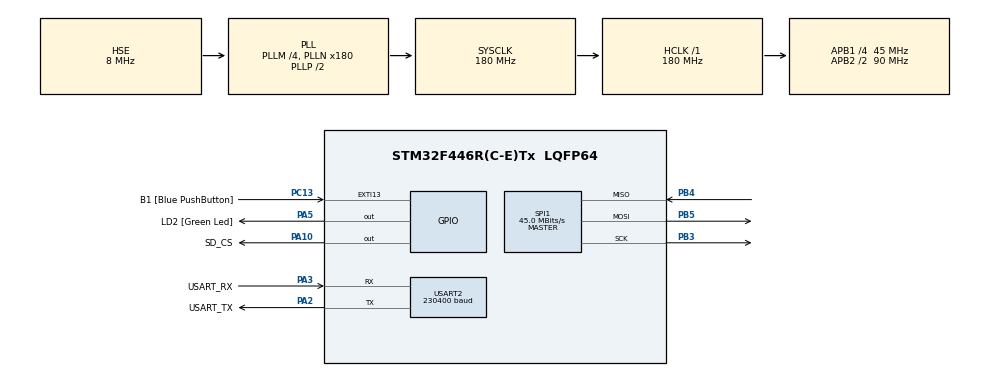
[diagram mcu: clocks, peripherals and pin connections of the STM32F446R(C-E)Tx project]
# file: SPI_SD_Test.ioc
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Dma.Request0=USART2_RX
Dma.Request1=USART2_TX
Dma.USART2_RX.0.Direction=DMA_PERIPH_TO_MEMORY
Dma.USART2_RX.0.FIFOMode=DMA_FIFOMODE_DISABLE
Dma.USART2_RX.0.Instance=DMA1_Stream5
Dma.USART2_RX.0.MemDataAlignment=DMA_MDATAALIGN_BYTE
Dma.USART2_RX.0.MemInc=DMA_MINC_ENABLE
Dma.USART2_RX.0.Mode=DMA_CIRCULAR
Dma.USART2_RX.0.PeriphDataAlignment=DMA_PDATAALIGN_BYTE
Dma.USART2_RX.0.PeriphInc=DMA_PINC_DISABLE
Dma.USART2_RX.0.Priority=DMA_PRIORITY_LOW
Dma.USART2_TX.1.Direction=DMA_MEMORY_TO_PERIPH
Dma.USART2_TX.1.FIFOMode=DMA_FIFOMODE_DISABLE
Dma.USART2_TX.1.Instance=DMA1_Stream6
Dma.USART2_TX.1.MemDataAlignment=DMA_MDATAALIGN_BYTE
Dma.USART2_TX.1.MemInc=DMA_MINC_ENABLE
Dma.USART2_TX.1.Mode=DMA_NORMAL
Dma.USART2_TX.1.PeriphDataAlignment=DMA_PDATAALIGN_BYTE
Dma.USART2_TX.1.PeriphInc=DMA_PINC_DISABLE
Dma.USART2_TX.1.Priority=DMA_PRIORITY_LOW
FATFS._FS_NORTC=1
FATFS._NORTC_YEAR=2025
FATFS._USE_STRFUNC=1
Mcu.Family=STM32F4
Mcu.Name=STM32F446R(C-E)Tx
Mcu.Package=LQFP64
NVIC.DMA1_Stream5_IRQn=true\:0\:0\:false\:false\:true
NVIC.DMA1_Stream6_IRQn=true\:0\:0\:false\:false\:true
NVIC.PriorityGroup=NVIC_PRIORITYGROUP_0
PA10.GPIO_Label=SD_CS
PA10.GPIO_Speed=GPIO_SPEED_FREQ_VERY_HIGH
PA10.PinState=GPIO_PIN_SET
PA10.Signal=GPIO_Output
PA13.GPIO_Label=TMS
PA13.Mode=Serial_Wire
PA13.Signal=SYS_JTMS-SWDIO
PA14.GPIO_Label=TCK
PA14.Mode=Serial_Wire
PA14.Signal=SYS_JTCK-SWCLK
PA2.GPIO_Label=USART_TX
PA2.Mode=Asynchronous
PA2.Signal=USART2_TX
PA3.GPIO_Label=USART_RX
PA3.Mode=Asynchronous
PA3.Signal=USART2_RX
PA5.GPIO_Label=LD2 [Green Led]
PA5.Signal=GPIO_Output
PB13.Signal=SPI2_SCK
PB14.GPIO_PuPd=GPIO_PULLUP
PB14.Signal=SPI2_MISO
PB15.Signal=SPI2_MOSI
PB3.Mode=Full_Duplex_Master
PB3.Signal=SPI1_SCK
PB4.Mode=Full_Duplex_Master
PB4.Signal=SPI1_MISO
PB5.Mode=Full_Duplex_Master
PB5.Signal=SPI1_MOSI
PC13.GPIO_Label=B1 [Blue PushButton]
PC13.GPIO_ModeDefaultEXTI=GPIO_MODE_IT_FALLING
PC13.Signal=GPXTI13
PC14-OSC32_IN.Signal=RCC_OSC32_IN
PC15-OSC32_OUT.Signal=RCC_OSC32_OUT
PH0-OSC_IN.Mode=HSE-External-Oscillator
PH0-OSC_IN.Signal=RCC_OSC_IN
PH1-OSC_OUT.Mode=HSE-External-Oscillator
PH1-OSC_OUT.Signal=RCC_OSC_OUT
ProjectManager.HeapSize=0x200
ProjectManager.StackSize=0x400
ProjectManager.TargetToolchain=SW4STM32
RCC.AHBFreq_Value=180000000
RCC.APB1CLKDivider=RCC_HCLK_DIV4
RCC.APB1Freq_Value=45000000
RCC.APB1TimFreq_Value=90000000
RCC.APB2CLKDivider=RCC_HCLK_DIV2
RCC.APB2Freq_Value=90000000
RCC.APB2TimFreq_Value=180000000
RCC.CortexFreq_Value=180000000
RCC.FLatency-AdvancedSettings=FLASH_LATENCY_5
RCC.HCLKFreq_Value=180000000
RCC.HSE_VALUE=8000000
RCC.HSI_VALUE=16000000
RCC.LSE_VALUE=32768
RCC.PLLM=4
RCC.PLLN=180
RCC.PLLSourceVirtual=RCC_PLLSOURCE_HSE
RCC.SYSCLKFreq_VALUE=180000000
RCC.SYSCLKSource=RCC_SYSCLKSOURCE_PLLCLK
RCC.USBFreq_Value=180000000
RCC.VCOOutputFreq_Value=360000000
SPI1.CalculateBaudRate=45.0 MBits/s
SPI1.Direction=SPI_DIRECTION_2LINES
SPI1.Mode=SPI_MODE_MASTER
SPI1.VirtualType=VM_MASTER
USART2.BaudRate=230400
USART2.VirtualMode=VM_ASYNC
VP_FATFS_VS_Generic.Mode=User_defined
board=NUCLEO-F446RE

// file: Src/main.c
/**
  ******************************************************************************
  * File Name          : main.c
  * Description        : Main program body
  ******************************************************************************
  * This notice applies to any and all portions of this file
  * that are not between comment pairs USER CODE BEGIN and
  * USER CODE END. Other portions of this file, whether
  * inserted by the user or by software development tools
  * are owned by their respective copyright owners.
  *
  * Copyright (c) 2017 STMicroelectronics International N.V.
  * All rights reserved.
  *
  * Redistribution and use in source and binary forms, with or without
  * modification, are permitted, provided that the following conditions are met:
  *
  * 1. Redistribution of source code must retain the above copyright notice,
  *    this list of conditions and the following disclaimer.
  * 2. Redistributions in binary form must reproduce the above copyright notice,
  *    this list of conditions and the following disclaimer in the documentation
  *    and/or other materials provided with the distribution.
  * 3. Neither the name of STMicroelectronics nor the names of other
  *    contributors to this software may be used to endorse or promote products
  *    derived from this software without specific written permission.
  * 4. This software, including modifications and/or derivative works of this
  *    software, must execute solely and exclusively on microcontroller or
  *    microprocessor devices manufactured by or for STMicroelectronics.
  * 5. Redistribution and use of this software other than as permitted under
  *    this license is void and will automatically terminate your rights under
  *    this license.
  *
  * THIS SOFTWARE IS PROVIDED BY STMICROELECTRONICS AND CONTRIBUTORS "AS IS"
  * AND ANY EXPRESS, IMPLIED OR STATUTORY WARRANTIES, INCLUDING, BUT NOT
  * LIMITED TO, THE IMPLIED WARRANTIES OF MERCHANTABILITY, FITNESS FOR A
  * PARTICULAR PURPOSE AND NON-INFRINGEMENT OF THIRD PARTY INTELLECTUAL PROPERTY
  * RIGHTS ARE DISCLAIMED TO THE FULLEST EXTENT PERMITTED BY LAW. IN NO EVENT
  * SHALL STMICROELECTRONICS OR CONTRIBUTORS BE LIABLE FOR ANY DIRECT, INDIRECT,
  * INCIDENTAL, SPECIAL, EXEMPLARY, OR CONSEQUENTIAL DAMAGES (INCLUDING, BUT NOT
  * LIMITED TO, PROCUREMENT OF SUBSTITUTE GOODS OR SERVICES; LOSS OF USE, DATA,
  * OR PROFITS; OR BUSINESS INTERRUPTION) HOWEVER CAUSED AND ON ANY THEORY OF
  * LIABILITY, WHETHER IN CONTRACT, STRICT LIABILITY, OR TORT (INCLUDING
  * NEGLIGENCE OR OTHERWISE) ARISING IN ANY WAY OUT OF THE USE OF THIS SOFTWARE,
  * EVEN IF ADVISED OF THE POSSIBILITY OF SUCH DAMAGE.
  *
  ******************************************************************************
  */
#include "main.h"
#include "stm32f4xx_hal.h"
#include "fatfs.h"

/* USER CODE BEGIN Includes */
#include "sd_io.h"

/* USER CODE END Includes */

SPI_HandleTypeDef hspi1;

UART_HandleTypeDef huart2;
DMA_HandleTypeDef hdma_usart2_rx;
DMA_HandleTypeDef hdma_usart2_tx;

/* USER CODE BEGIN PV */
/* Private variables ---------------------------------------------------------*/

/* USER CODE END PV */

void SystemClock_Config(void);
static void MX_GPIO_Init(void);
static void MX_DMA_Init(void);
static void MX_USART2_UART_Init(void);
static void MX_SPI1_Init(void);

/* USER CODE BEGIN PFP */
/* Private function prototypes -----------------------------------------------*/

/* USER CODE END PFP */

int main(void)
{

  /* MCU Configuration----------------------------------------------------------*/

  /* Reset of all peripherals, Initializes the Flash interface and the Systick. */
  HAL_Init();

  /* Configure the system clock */
  SystemClock_Config();

  /* Initialize all configured peripherals */
  MX_GPIO_Init();
  MX_DMA_Init();
  MX_FATFS_Init();
  MX_USART2_UART_Init();
  MX_SPI1_Init();

  /* USER CODE BEGIN 2 */
  uint8_t readBuf[512];
  uint8_t fucktard[512];
  uint8_t oneFucktard[] = "fucktard alert pls don't touch\n";
  for(int i=0; i<512; i+=32){
	  for(int j=0; j<32; j++){
		  fucktard[i+j] = oneFucktard[j];
	  }
  }

  SPI_IO_Attach(&hspi1);

  HAL_Delay(2);

  SDRESULTS res;
  SD_DEV* newSD;

//  res = SD_Init(newSD);
//  HAL_Delay(1);
//  res = SD_Write(newSD, fucktard, 0);
//  res = SD_Write(newSD, fucktard, 1);
//  res = SD_Write(newSD, fucktard, 2);
//  res = SD_Read(newSD, readBuf, 0, 0, 512);
//  uint8_t lol = readBuf[0];

  FIL newFIL;
  FATFS newFAT;
  uint8_t SD_Path[4];
  UINT bw;

  FRESULT ret = f_mount(&newFAT, SD_Path, 0);
//  ret = f_mkfs(SD_Path, 0, 0);
  ret = f_open(&newFIL, "testies4.txt", FA_CREATE_ALWAYS | FA_WRITE);
  ret = f_write(&newFIL, fucktard, sizeof(fucktard), &bw);
  ret = f_write(&newFIL, fucktard, sizeof(fucktard), &bw);
  ret = f_write(&newFIL, fucktard, sizeof(fucktard), &bw);
  ret = f_write(&newFIL, fucktard, sizeof(fucktard), &bw);
  ret = f_write(&newFIL, fucktard, sizeof(fucktard), &bw);
    ret = f_write(&newFIL, fucktard, sizeof(fucktard), &bw);
    ret = f_write(&newFIL, fucktard, sizeof(fucktard), &bw);
    ret = f_write(&newFIL, fucktard, sizeof(fucktard), &bw);
//  ret = f_sync(&newFIL);
  ret = f_close(&newFIL);

  /* USER CODE END 2 */

  /* Infinite loop */
  while (1)
  {

  }

}

/** System Clock Configuration
*/
void SystemClock_Config(void)
{

  RCC_OscInitTypeDef RCC_OscInitStruct;
  RCC_ClkInitTypeDef RCC_ClkInitStruct;

    /**Configure the main internal regulator output voltage
    */
  __HAL_RCC_PWR_CLK_ENABLE();

  __HAL_PWR_VOLTAGESCALING_CONFIG(PWR_REGULATOR_VOLTAGE_SCALE1);

    /**Initializes the CPU, AHB and APB busses clocks
    */
  RCC_OscInitStruct.OscillatorType = RCC_OSCILLATORTYPE_HSE;
  RCC_OscInitStruct.HSEState = RCC_HSE_ON;
  RCC_OscInitStruct.PLL.PLLState = RCC_PLL_ON;
  RCC_OscInitStruct.PLL.PLLSource = RCC_PLLSOURCE_HSE;
  RCC_OscInitStruct.PLL.PLLM = 4;
  RCC_OscInitStruct.PLL.PLLN = 180;
  RCC_OscInitStruct.PLL.PLLP = RCC_PLLP_DIV2;
  RCC_OscInitStruct.PLL.PLLQ = 2;
  RCC_OscInitStruct.PLL.PLLR = 2;
  if (HAL_RCC_OscConfig(&RCC_OscInitStruct) != HAL_OK)
  {
    _Error_Handler(__FILE__, __LINE__);
  }

    /**Activate the Over-Drive mode
    */
  if (HAL_PWREx_EnableOverDrive() != HAL_OK)
  {
    _Error_Handler(__FILE__, __LINE__);
  }

    /**Initializes the CPU, AHB and APB busses clocks
    */
  RCC_ClkInitStruct.ClockType = RCC_CLOCKTYPE_HCLK|RCC_CLOCKTYPE_SYSCLK
                              |RCC_CLOCKTYPE_PCLK1|RCC_CLOCKTYPE_PCLK2;
  RCC_ClkInitStruct.SYSCLKSource = RCC_SYSCLKSOURCE_PLLCLK;
  RCC_ClkInitStruct.AHBCLKDivider = RCC_SYSCLK_DIV1;
  RCC_ClkInitStruct.APB1CLKDivider = RCC_HCLK_DIV4;
  RCC_ClkInitStruct.APB2CLKDivider = RCC_HCLK_DIV2;

  if (HAL_RCC_ClockConfig(&RCC_ClkInitStruct, FLASH_LATENCY_5) != HAL_OK)
  {
    _Error_Handler(__FILE__, __LINE__);
  }

    /**Configure the Systick interrupt time
    */
  HAL_SYSTICK_Config(HAL_RCC_GetHCLKFreq()/1000);

    /**Configure the Systick
    */
  HAL_SYSTICK_CLKSourceConfig(SYSTICK_CLKSOURCE_HCLK);

  /* SysTick_IRQn interrupt configuration */
  HAL_NVIC_SetPriority(SysTick_IRQn, 0, 0);
}

/* SPI1 init function */
static void MX_SPI1_Init(void)
{

  hspi1.Instance = SPI1;
  hspi1.Init.Mode = SPI_MODE_MASTER;
  hspi1.Init.Direction = SPI_DIRECTION_2LINES;
  hspi1.Init.DataSize = SPI_DATASIZE_8BIT;
  hspi1.Init.CLKPolarity = SPI_POLARITY_LOW;
  hspi1.Init.CLKPhase = SPI_PHASE_1EDGE;
  hspi1.Init.NSS = SPI_NSS_SOFT;
  hspi1.Init.BaudRatePrescaler = SPI_BAUDRATEPRESCALER_2;
  hspi1.Init.FirstBit = SPI_FIRSTBIT_MSB;
  hspi1.Init.TIMode = SPI_TIMODE_DISABLE;
  hspi1.Init.CRCCalculation = SPI_CRCCALCULATION_DISABLE;
  hspi1.Init.CRCPolynomial = 10;
  if (HAL_SPI_Init(&hspi1) != HAL_OK)
  {
    _Error_Handler(__FILE__, __LINE__);
  }

}

/* USART2 init function */
static void MX_USART2_UART_Init(void)
{

  huart2.Instance = USART2;
  huart2.Init.BaudRate = 230400;
  huart2.Init.WordLength = UART_WORDLENGTH_8B;
  huart2.Init.StopBits = UART_STOPBITS_1;
  huart2.Init.Parity = UART_PARITY_NONE;
  huart2.Init.Mode = UART_MODE_TX_RX;
  huart2.Init.HwFlowCtl = UART_HWCONTROL_NONE;
  huart2.Init.OverSampling = UART_OVERSAMPLING_16;
  if (HAL_UART_Init(&huart2) != HAL_OK)
  {
    _Error_Handler(__FILE__, __LINE__);
  }

}

static void MX_DMA_Init(void)
{
  /* DMA controller clock enable */
  __HAL_RCC_DMA1_CLK_ENABLE();

  /* DMA interrupt init */
  /* DMA1_Stream5_IRQn interrupt configuration */
  HAL_NVIC_SetPriority(DMA1_Stream5_IRQn, 0, 0);
  HAL_NVIC_EnableIRQ(DMA1_Stream5_IRQn);
  /* DMA1_Stream6_IRQn interrupt configuration */
  HAL_NVIC_SetPriority(DMA1_Stream6_IRQn, 0, 0);
  HAL_NVIC_EnableIRQ(DMA1_Stream6_IRQn);

}

/** Configure pins as
        * Analog
        * Input
        * Output
        * EVENT_OUT
        * EXTI
        * Free pins are configured automatically as Analog (this feature is enabled through
        * the Code Generation settings)
     PB13   ------> SPI2_SCK
     PB14   ------> SPI2_MISO
     PB15   ------> SPI2_MOSI
*/
static void MX_GPIO_Init(void)
{

  GPIO_InitTypeDef GPIO_InitStruct;

  /* GPIO Ports Clock Enable */
  __HAL_RCC_GPIOC_CLK_ENABLE();
  __HAL_RCC_GPIOH_CLK_ENABLE();
  __HAL_RCC_GPIOA_CLK_ENABLE();
  __HAL_RCC_GPIOB_CLK_ENABLE();
  __HAL_RCC_GPIOD_CLK_ENABLE();

  /*Configure GPIO pin Output Level */
  HAL_GPIO_WritePin(LD2_GPIO_Port, LD2_Pin, GPIO_PIN_RESET);

  /*Configure GPIO pin Output Level */
  HAL_GPIO_WritePin(SD_CS_GPIO_Port, SD_CS_Pin, GPIO_PIN_SET);

  /*Configure GPIO pin : B1_Pin */
  GPIO_InitStruct.Pin = B1_Pin;
  GPIO_InitStruct.Mode = GPIO_MODE_IT_FALLING;
  GPIO_InitStruct.Pull = GPIO_NOPULL;
  HAL_GPIO_Init(B1_GPIO_Port, &GPIO_InitStruct);

  /*Configure GPIO pins : PC0 PC1 PC2 PC3
                           PC4 PC5 PC6 PC7
                           PC8 PC9 PC10 PC11
                           PC12 */
  GPIO_InitStruct.Pin = GPIO_PIN_0|GPIO_PIN_1|GPIO_PIN_2|GPIO_PIN_3
                          |GPIO_PIN_4|GPIO_PIN_5|GPIO_PIN_6|GPIO_PIN_7
                          |GPIO_PIN_8|GPIO_PIN_9|GPIO_PIN_10|GPIO_PIN_11
                          |GPIO_PIN_12;
  GPIO_InitStruct.Mode = GPIO_MODE_ANALOG;
  GPIO_InitStruct.Pull = GPIO_NOPULL;
  HAL_GPIO_Init(GPIOC, &GPIO_InitStruct);

  /*Configure GPIO pins : PA0 PA1 PA4 PA6
                           PA7 PA8 PA9 PA11
                           PA12 PA15 */
  GPIO_InitStruct.Pin = GPIO_PIN_0|GPIO_PIN_1|GPIO_PIN_4|GPIO_PIN_6
                          |GPIO_PIN_7|GPIO_PIN_8|GPIO_PIN_9|GPIO_PIN_11
                          |GPIO_PIN_12|GPIO_PIN_15;
  GPIO_InitStruct.Mode = GPIO_MODE_ANALOG;
  GPIO_InitStruct.Pull = GPIO_NOPULL;
  HAL_GPIO_Init(GPIOA, &GPIO_InitStruct);

  /*Configure GPIO pin : LD2_Pin */
  GPIO_InitStruct.Pin = LD2_Pin;
  GPIO_InitStruct.Mode = GPIO_MODE_OUTPUT_PP;
  GPIO_InitStruct.Pull = GPIO_NOPULL;
  GPIO_InitStruct.Speed = GPIO_SPEED_FREQ_LOW;
  HAL_GPIO_Init(LD2_GPIO_Port, &GPIO_InitStruct);

  /*Configure GPIO pins : PB0 PB1 PB2 PB10
                           PB12 PB6 PB7 PB8
                           PB9 */
  GPIO_InitStruct.Pin = GPIO_PIN_0|GPIO_PIN_1|GPIO_PIN_2|GPIO_PIN_10
                          |GPIO_PIN_12|GPIO_PIN_6|GPIO_PIN_7|GPIO_PIN_8
                          |GPIO_PIN_9;
  GPIO_InitStruct.Mode = GPIO_MODE_ANALOG;
  GPIO_InitStruct.Pull = GPIO_NOPULL;
  HAL_GPIO_Init(GPIOB, &GPIO_InitStruct);

  /*Configure GPIO pins : PB13 PB15 */
  GPIO_InitStruct.Pin = GPIO_PIN_13|GPIO_PIN_15;
  GPIO_InitStruct.Mode = GPIO_MODE_AF_PP;
  GPIO_InitStruct.Pull = GPIO_NOPULL;
  GPIO_InitStruct.Speed = GPIO_SPEED_FREQ_VERY_HIGH;
  GPIO_InitStruct.Alternate = GPIO_AF5_SPI2;
  HAL_GPIO_Init(GPIOB, &GPIO_InitStruct);

  /*Configure GPIO pin : PB14 */
  GPIO_InitStruct.Pin = GPIO_PIN_14;
  GPIO_InitStruct.Mode = GPIO_MODE_AF_PP;
  GPIO_InitStruct.Pull = GPIO_PULLUP;
  GPIO_InitStruct.Speed = GPIO_SPEED_FREQ_VERY_HIGH;
  GPIO_InitStruct.Alternate = GPIO_AF5_SPI2;
  HAL_GPIO_Init(GPIOB, &GPIO_InitStruct);

  /*Configure GPIO pin : SD_CS_Pin */
  GPIO_InitStruct.Pin = SD_CS_Pin;
  GPIO_InitStruct.Mode = GPIO_MODE_OUTPUT_PP;
  GPIO_InitStruct.Pull = GPIO_NOPULL;
  GPIO_InitStruct.Speed = GPIO_SPEED_FREQ_VERY_HIGH;
  HAL_GPIO_Init(SD_CS_GPIO_Port, &GPIO_InitStruct);

  /*Configure GPIO pin : PD2 */
  GPIO_InitStruct.Pin = GPIO_PIN_2;
  GPIO_InitStruct.Mode = GPIO_MODE_ANALOG;
  GPIO_InitStruct.Pull = GPIO_NOPULL;
  HAL_GPIO_Init(GPIOD, &GPIO_InitStruct);

}

void _Error_Handler(char * file, int line)
{
  while(1)
  {
  }
}

/************************ (C) COPYRIGHT STMicroelectronics *****END OF FILE****/
